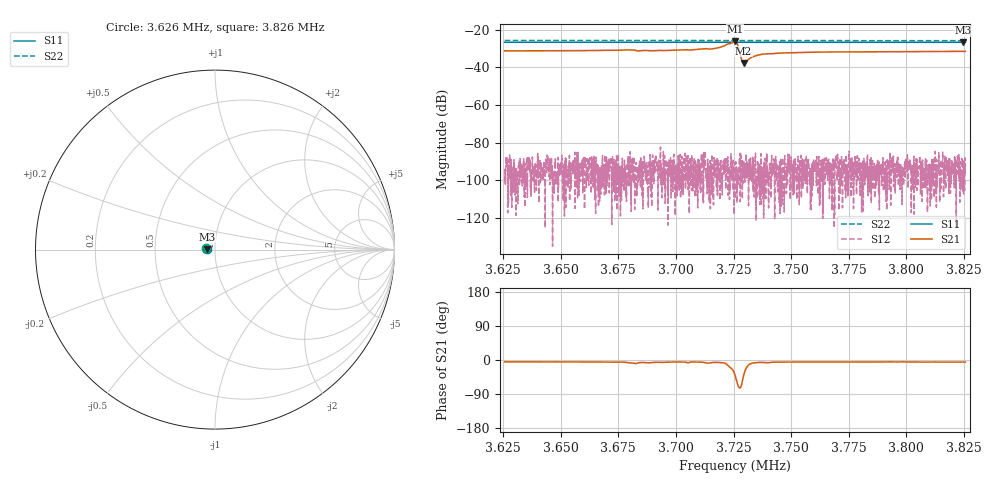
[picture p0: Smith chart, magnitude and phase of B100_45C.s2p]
# Hz S dB R 50.000
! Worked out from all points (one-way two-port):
!   6401 points, 3.626 MHz to 3.826 MHz, reference 50 ohm
!   highest |S21| = -26.30 dB at 3.726 MHz (marker M1); lowest = -37.6 dB at 3.729 MHz (marker M2)
!   lowest |S11| = -26.8 dB at 3.825 MHz (marker M3), VSWR 1.10, Z = 45.6 + j0.337 ohm
!   |S11| at or under -10 dB: start of sweep to end of sweep
!   |S22| runs from -25.9 to -25.8 dB; largest |S21 - S12| = 0.048
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3625625  -26.73 173.7  -31.24 -4.6  -100.88 40.7  -25.77 171.9
3658969  -26.73 174.0  -31.14 -5.2  -91.98 50.2  -25.79 172.2
3679000  -26.74 174.1  -30.76 -6.7  -93.26 29.9  -25.80 172.4
3683719  -26.74 174.2  -31.29 -7.3  -100.64 86.6  -25.81 172.4
3692312  -26.74 174.2  -31.08 -6.0  -95.01 -11.7  -25.81 172.5
3715375  -26.75 174.5  -30.27 -6.8  -95.35 172.3  -25.82 172.7
3719344  -26.75 174.5  -29.35 -6.6  -97.10 80.8  -25.82 172.8
3724906  -26.75 174.5  -26.63 -28.9  -92.95 156.8  -25.82 172.8
3725625  -26.75 174.5  -26.30 -39.8  -106.99 -117.3  -25.82 172.8
3726188  -26.74 174.5  -26.68 -51.9  -94.68 -80.6  -25.82 172.8
3726688  -26.75 174.5  -27.85 -62.9  -102.72 133.4  -25.82 172.8
3727188  -26.75 174.5  -29.77 -70.8  -92.42 54.4  -25.82 172.9
3728469  -26.74 174.5  -35.91 -65.7  -95.30 69.7  -25.82 172.8
3728906  -26.75 174.6  -37.27 -53.3  -89.64 24.9  -25.82 172.8
3729375  -26.75 174.6  -37.65 -40.7  -96.59 30.7  -25.83 172.8
3730094  -26.75 174.6  -37.23 -26.5  -94.30 -40.5  -25.83 172.9
3733656  -26.75 174.6  -34.26 -7.8  -89.99 35.1  -25.83 172.9
3737812  -26.75 174.7  -32.99 -6.5  -93.23 -25.3  -25.83 172.9
3758969  -26.75 174.8  -32.01 -5.3  -99.54 168.5  -25.84 173.1
3792312  -26.76 175.1  -31.74 -5.0  -93.98 37.2  -25.86 173.4
3824688  -26.77 175.4  -31.58 -5.5  -89.42 11.0  -25.88 173.7
3825625  -26.77 175.4  -31.57 -5.4  -91.25 -59.9  -25.88 173.7
